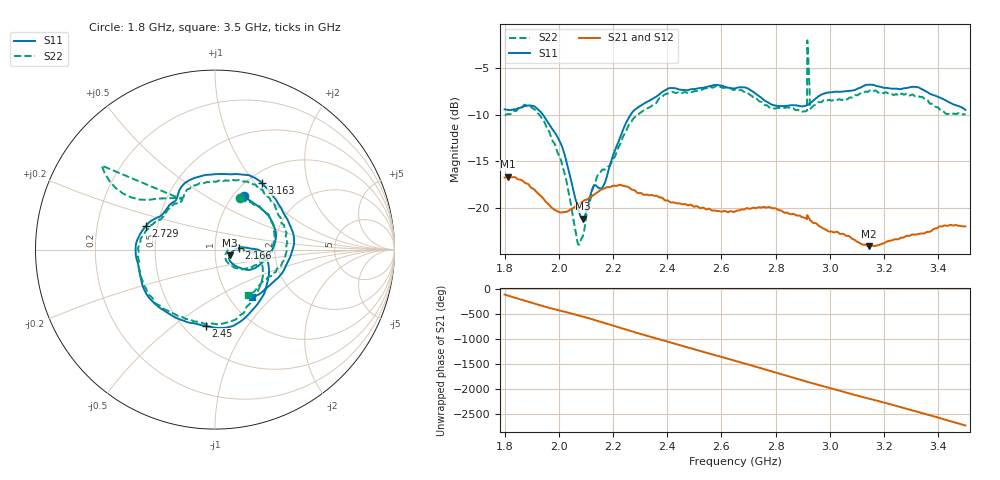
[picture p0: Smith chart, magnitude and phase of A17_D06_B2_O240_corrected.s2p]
! Created with skrf 1.9.0 (http://scikit-rf.org).
# Hz S RI R 50.0
!freq ReS11 ImS11 ReS21 ImS21 ReS12 ImS12 ReS22 ImS22
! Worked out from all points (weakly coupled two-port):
!   1601 points, 1.8 GHz to 3.5 GHz, reference 50 ohm
!   highest |S21| = -16.64 dB at 1.812 GHz (marker M1); lowest = -24.0 dB at 3.143 GHz (marker M2)
!   lowest |S11| = -21.1 dB at 2.09 GHz (marker M3), VSWR 1.19, Z = 58.8 - j3.66 ohm
!   |S11| at or under -10 dB: 1.941 GHz to 2.265 GHz (323.9 MHz wide, 15.4 % of centre)
!   |S22| runs from -23.9 to -2.1 dB; largest |S21 - S12| = 0.0024
!   S11 on the Smith chart (normalised r, x): 1.8 GHz: 1.12, +0.75; 2.166 GHz: 1.30, +0.02; 2.45 GHz: 0.63, -0.66; 2.729 GHz: 0.43, +0.14; 3.163 GHz: 1.16, +1.09; 3.5 GHz: 1.27, -0.75
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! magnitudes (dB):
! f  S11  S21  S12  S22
! 1.8 GHz  -9.4  -16.7  -16.7  -10.0
! 1.812 GHz  -9.5  -16.6  -16.6  -9.9
! 1.88 GHz  -9.0  -17.3  -17.3  -9.1
! 1.942 GHz  -10.0  -18.9  -18.9  -10.6
! 2.011 GHz  -13.4  -20.4  -20.4  -15.3
! 2.067 GHz  -19.6  -19.7  -19.7  -23.3
! 2.084 GHz  -21.0  -19.4  -19.3  -23.2
! 2.09 GHz  -21.1  -19.2  -19.3  -22.8
! 2.129 GHz  -17.6  -18.6  -18.5  -17.6
! 2.166 GHz  -17.5  -17.9  -17.9  -15.9
! 2.261 GHz  -10.2  -17.8  -17.8  -11.0
! 2.367 GHz  -7.9  -18.8  -18.7  -8.4
! 2.45 GHz  -7.4  -19.5  -19.5  -7.7
! 2.65 GHz  -7.2  -20.3  -20.3  -7.3
! 2.729 GHz  -7.8  -20.0  -20.0  -8.3
! 2.907 GHz  -9.1  -21.0  -21.0  -9.7
! 2.925 GHz  -8.8  -21.2  -21.1  -7.4
! 2.934 GHz  -8.6  -21.4  -21.4  -9.2
! 3.143 GHz  -6.8  -24.0  -24.0  -7.5
! 3.163 GHz  -6.8  -24.0  -24.0  -7.5
! 3.217 GHz  -7.2  -23.5  -23.4  -7.8
! 3.5 GHz  -9.5  -21.9  -21.9  -10.0
